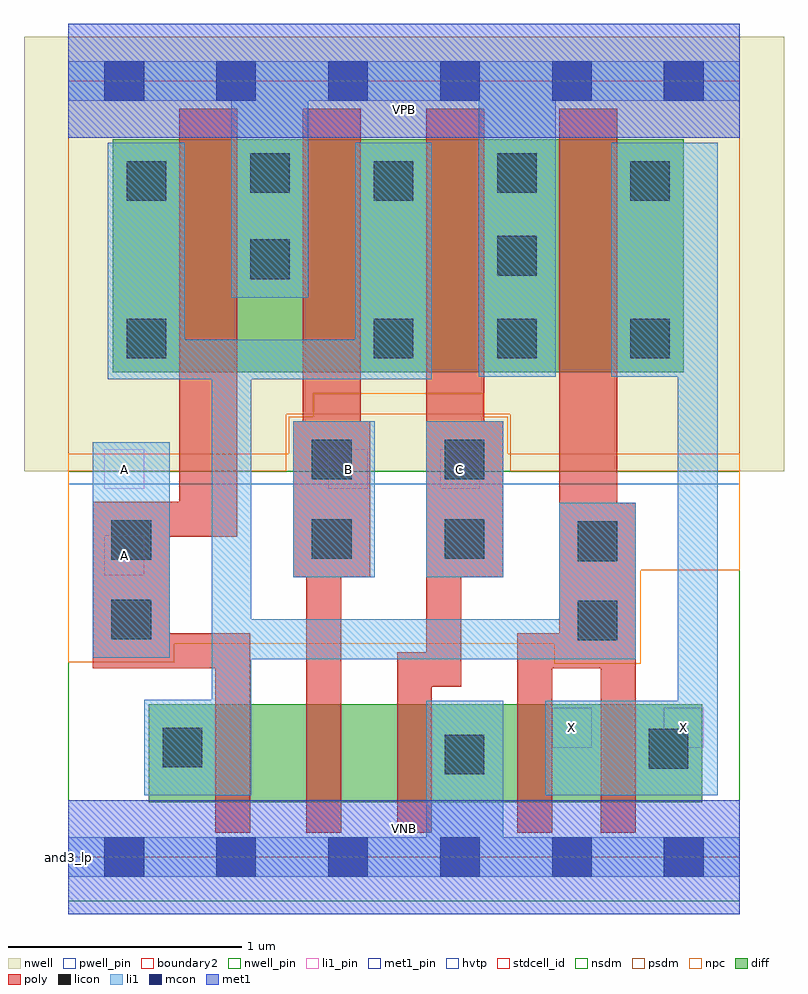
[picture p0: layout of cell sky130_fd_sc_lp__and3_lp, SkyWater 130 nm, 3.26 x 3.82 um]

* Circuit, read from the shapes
.subckt sky130_fd_sc_lp__and3_lp A B C VGND VNB VPB VPWR X
XM1 n1 A n2 VNB sky130_fd_pr__nfet_01v8 w=0.42 l=0.15
XM2 n3 B n1 VNB sky130_fd_pr__nfet_01v8 w=0.42 l=0.15
XM3 VGND C n3 VNB sky130_fd_pr__nfet_01v8 w=0.42 l=0.15
XM4 n4 n2 VGND VNB sky130_fd_pr__nfet_01v8 w=0.42 l=0.15
XM5 X n2 n4 VNB sky130_fd_pr__nfet_01v8 w=0.42 l=0.15
XM6 VPWR A n2 VPB sky130_fd_pr__pfet_01v8_hvt w=1 l=0.25
XM7 n2 B VPWR VPB sky130_fd_pr__pfet_01v8_hvt w=1 l=0.25
XM8 VPWR C n2 VPB sky130_fd_pr__pfet_01v8_hvt w=1 l=0.25
XM9 X n2 VPWR VPB sky130_fd_pr__pfet_01v8_hvt w=1 l=0.25
.ends

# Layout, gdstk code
import gdstk
lib = gdstk.Library(unit=1e-6, precision=1e-09)
def R(c, l, rs):  # rectangles x0, y0, x1, y1
    for r in rs: c.add(gdstk.rectangle(r[:2], r[2:], *l))
def A(c, l, x, y, w, h, nx, ny, dx, dy):  # array of equal rectangles
    R(c, l, [(x+i*dx, y+j*dy, x+i*dx+w, y+j*dy+h) for i in range(nx) for j in range(ny)])
def P(c, l, *ps):  # polygons
    for p in ps: c.add(gdstk.Polygon(p, *l))
nwell_pin = (64, 16)
nwell = (64, 20)
diff = (65, 20)
poly = (66, 20)
licon = (66, 44)
li1_pin = (67, 16)
li1 = (67, 20)
mcon = (67, 44)
met1_pin = (68, 16)
met1 = (68, 20)
hvtp = (78, 44)
stdcell_id = (81, 4)
nsdm = (93, 44)
psdm = (94, 20)
npc = (95, 20)
pwell_pin = (122, 16)
boundary2 = (236, 0)

sky130_fd_sc_lp__and3_lp = lib.new_cell('sky130_fd_sc_lp__and3_lp')
R(sky130_fd_sc_lp__and3_lp, nwell_pin, [(0,3.085,2.88,3.33)])
R(sky130_fd_sc_lp__and3_lp, nwell, [(-0.19,1.655,3.07,3.52)])
R(sky130_fd_sc_lp__and3_lp, diff, [(0.345,0.235,2.72,0.655), (0.19,2.08,2.64,3.08)])
P(sky130_fd_sc_lp__and3_lp, poly, [(0.78,0.96),(0.435,0.96),(0.435,1.375),(0.725,1.375),(0.725,3.21),(0.475,3.21),(0.475,1.525),(0.105,1.525),(0.105,0.81),(0.63,0.81),(0.63,0.105),(0.78,0.105)],
  [(1.295,1.87),(1.255,1.87),(1.255,3.21),(1.005,3.21),(1.005,1.87),(0.965,1.87),(0.965,1.2),(1.02,1.2),(1.02,0.105),(1.17,0.105),(1.17,1.2),(1.295,1.2)],
  [(1.865,1.87),(1.785,1.87),(1.785,3.21),(1.535,3.21),(1.535,0.88),(1.41,0.88),(1.41,0.105),(1.56,0.105),(1.56,0.73),(1.685,0.73),(1.685,1.2),(1.865,1.2)],
  [(2.435,1.52),(2.355,1.52),(2.355,3.21),(2.105,3.21),(2.105,0.96),(1.925,0.96),(1.925,0.105),(2.075,0.105),(2.075,0.81),(2.285,0.81),(2.285,0.105),(2.435,0.105)])
A(sky130_fd_sc_lp__and3_lp, licon, 1.84, 2.14, 0.17, 0.17, 1, 3, 0, 0.355)
R(sky130_fd_sc_lp__and3_lp, licon, [(1.615,0.355,1.785,0.525), (2.49,0.38,2.66,0.55), (0.405,0.385,0.575,0.555), (2.185,0.93,2.355,1.1), (0.185,0.935,0.355,1.105), (2.185,1.27,2.355,1.44), (0.185,1.275,0.355,1.445), (1.045,1.28,1.215,1.45), (1.615,1.28,1.785,1.45), (1.045,1.62,1.215,1.79), (1.615,1.62,1.785,1.79), (0.25,2.14,0.42,2.31), (1.31,2.14,1.48,2.31), (2.41,2.14,2.58,2.31), (0.78,2.48,0.95,2.65), (0.25,2.815,0.42,2.985), (1.31,2.815,1.48,2.985), (2.41,2.815,2.58,2.985), (0.78,2.85,0.95,3.02)])
R(sky130_fd_sc_lp__and3_lp, li1_pin, [(2.075,0.47,2.245,0.64), (2.555,0.47,2.725,0.64), (0.155,1.21,0.325,1.38), (0.155,1.58,0.325,1.75), (1.115,1.58,1.285,1.75), (1.595,1.58,1.765,1.75)])
R(sky130_fd_sc_lp__and3_lp, li1, [(0.105,0.855,0.435,1.78), (0.965,1.2,1.315,1.87), (1.535,1.2,1.865,1.87)])
P(sky130_fd_sc_lp__and3_lp, li1, [(1.76,2.06),(1.76,3.245),(1.03,3.245),(1.03,2.4),(0.7,2.4),(0.7,3.245),(0,3.245),(0,3.415),(2.88,3.415),(2.88,3.245),(2.09,3.245),(2.09,2.06)],
  [(1.535,0.085),(1.535,0.67),(1.865,0.67),(1.865,0.085),(2.88,0.085),(2.88,-0.085),(0,-0.085),(0,0.085)],
  [(0.785,1.02),(2.105,1.02),(2.105,1.52),(2.435,1.52),(2.435,0.85),(0.785,0.85),(0.785,0.265),(0.325,0.265),(0.325,0.675),(0.615,0.675),(0.615,2.05),(0.17,2.05),(0.17,3.065),(0.5,3.065),(0.5,2.22),(1.23,2.22),(1.23,3.065),(1.56,3.065),(1.56,2.05),(0.785,2.05)],
  [(2.615,0.67),(2.615,2.06),(2.33,2.06),(2.33,3.065),(2.785,3.065),(2.785,0.265),(2.045,0.265),(2.045,0.67)])
A(sky130_fd_sc_lp__and3_lp, mcon, 0.155, -0.085, 0.17, 0.17, 6, 2, 0.48, 3.33)
R(sky130_fd_sc_lp__and3_lp, met1_pin, [(0,0,2.88,0.245), (0,3.085,2.88,3.33)])
R(sky130_fd_sc_lp__and3_lp, met1, [(0,-0.245,2.88,0.245), (0,3.085,2.88,3.575)])
R(sky130_fd_sc_lp__and3_lp, hvtp, [(0,1.6,2.88,3.33)])
R(sky130_fd_sc_lp__and3_lp, stdcell_id, [(0,0,2.88,3.33)])
R(sky130_fd_sc_lp__and3_lp, nsdm, [(0,-0.19,2.88,1.655)])
P(sky130_fd_sc_lp__and3_lp, psdm, [(2.88,3.52),(0,3.52),(0,1.655),(0.935,1.655),(0.935,1.9),(1.895,1.9),(1.895,1.655),(2.88,1.655)])
P(sky130_fd_sc_lp__and3_lp, npc, [(2.88,1.73),(1.885,1.73),(1.885,1.89),(1.78,1.89),(1.78,1.99),(1.05,1.99),(1.05,1.89),(0.945,1.89),(0.945,1.73),(0,1.73),(0,0.835),(0.455,0.835),(0.455,0.915),(2.085,0.915),(2.085,0.83),(2.455,0.83),(2.455,1.23),(2.88,1.23)])
R(sky130_fd_sc_lp__and3_lp, pwell_pin, [(0,0,2.88,0.245)])
R(sky130_fd_sc_lp__and3_lp, boundary2, [(0,0,2.88,3.33)])
sky130_fd_sc_lp__and3_lp.add(gdstk.Label('VNB', (1.44,0.123), layer=64, texttype=59))
sky130_fd_sc_lp__and3_lp.add(gdstk.Label('VPB', (1.44,3.208), layer=64, texttype=5))
sky130_fd_sc_lp__and3_lp.add(gdstk.Label('and3_lp', (0,0), layer=83, texttype=44))
sky130_fd_sc_lp__and3_lp.add(gdstk.Label('VGND', (1.44,0.123), layer=68, texttype=5))
sky130_fd_sc_lp__and3_lp.add(gdstk.Label('VPWR', (1.44,3.208), layer=68, texttype=5))
sky130_fd_sc_lp__and3_lp.add(gdstk.Label('C', (1.68,1.665), layer=67, texttype=5))
sky130_fd_sc_lp__and3_lp.add(gdstk.Label('B', (1.2,1.665), layer=67, texttype=5))
sky130_fd_sc_lp__and3_lp.add(gdstk.Label('A', (0.24,1.295), layer=67, texttype=5))
sky130_fd_sc_lp__and3_lp.add(gdstk.Label('A', (0.24,1.665), layer=67, texttype=5))
sky130_fd_sc_lp__and3_lp.add(gdstk.Label('X', (2.16,0.555), layer=67, texttype=5))
sky130_fd_sc_lp__and3_lp.add(gdstk.Label('X', (2.64,0.555), layer=67, texttype=5))

lib.write_gds('sky130_fd_sc_lp__and3_lp.gds')
